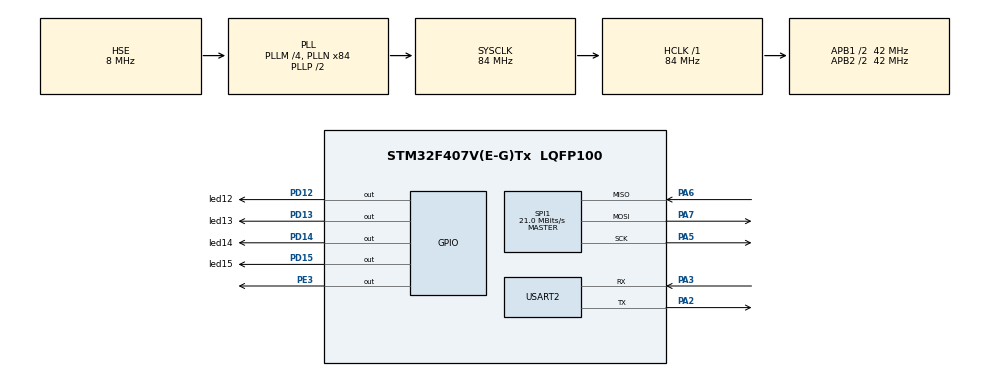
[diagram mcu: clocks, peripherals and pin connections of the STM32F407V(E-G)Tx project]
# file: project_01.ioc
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Mcu.Family=STM32F4
Mcu.Name=STM32F407V(E-G)Tx
Mcu.Package=LQFP100
NVIC.PriorityGroup=NVIC_PRIORITYGROUP_0
NVIC.TIM6_DAC_IRQn=true\:0\:0\:false\:false\:true\:true\:true\:true
NVIC.USART2_IRQn=true\:0\:0\:false\:false\:true\:true\:true\:true
PA13.Mode=Serial_Wire
PA13.Signal=SYS_JTMS-SWDIO
PA14.Mode=Serial_Wire
PA14.Signal=SYS_JTCK-SWCLK
PA2.Mode=Asynchronous
PA2.Signal=USART2_TX
PA3.Mode=Asynchronous
PA3.Signal=USART2_RX
PA5.Mode=Full_Duplex_Master
PA5.Signal=SPI1_SCK
PA6.Mode=Full_Duplex_Master
PA6.Signal=SPI1_MISO
PA7.Mode=Full_Duplex_Master
PA7.Signal=SPI1_MOSI
PD12.GPIO_Label=led12
PD12.GPIO_Speed=GPIO_SPEED_FREQ_MEDIUM
PD12.Signal=GPIO_Output
PD13.GPIO_Label=led13
PD13.GPIO_Speed=GPIO_SPEED_FREQ_MEDIUM
PD13.Signal=GPIO_Output
PD14.GPIO_Label=led14
PD14.GPIO_Speed=GPIO_SPEED_FREQ_MEDIUM
PD14.Signal=GPIO_Output
PD15.GPIO_Label=led15
PD15.GPIO_Speed=GPIO_SPEED_FREQ_MEDIUM
PD15.Signal=GPIO_Output
PE3.Signal=GPIO_Output
PH0-OSC_IN.Mode=HSE-External-Oscillator
PH0-OSC_IN.Signal=RCC_OSC_IN
PH1-OSC_OUT.Mode=HSE-External-Oscillator
PH1-OSC_OUT.Signal=RCC_OSC_OUT
ProjectManager.HeapSize=0x200
ProjectManager.StackSize=0x400
ProjectManager.TargetToolchain=STM32CubeIDE
RCC.48MHZClocksFreq_Value=24000000
RCC.AHBFreq_Value=84000000
RCC.APB1CLKDivider=RCC_HCLK_DIV2
RCC.APB1Freq_Value=42000000
RCC.APB1TimFreq_Value=84000000
RCC.APB2CLKDivider=RCC_HCLK_DIV2
RCC.APB2Freq_Value=42000000
RCC.APB2TimFreq_Value=84000000
RCC.CortexFreq_Value=84000000
RCC.HCLKFreq_Value=84000000
RCC.HSE_VALUE=8000000
RCC.HSI_VALUE=16000000
RCC.LSE_VALUE=32768
RCC.PLLM=4
RCC.PLLN=84
RCC.PLLQ=7
RCC.PLLSourceVirtual=RCC_PLLSOURCE_HSE
RCC.SYSCLKFreq_VALUE=84000000
RCC.SYSCLKSource=RCC_SYSCLKSOURCE_PLLCLK
RCC.VCOOutputFreq_Value=168000000
SPI1.CalculateBaudRate=21.0 MBits/s
SPI1.Direction=SPI_DIRECTION_2LINES
SPI1.Mode=SPI_MODE_MASTER
SPI1.VirtualType=VM_MASTER
TIM6.AutoReloadPreload=TIM_AUTORELOAD_PRELOAD_ENABLE
TIM6.Period=199
TIM6.Prescaler=41999
USART2.VirtualMode=VM_ASYNC
VP_TIM6_VS_ClockSourceINT.Mode=Enable_Timer
board=STM32F407G-DISC1

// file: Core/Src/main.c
/* USER CODE BEGIN Header */
/**
 ******************************************************************************
 * @file           : main.c
 * @brief          : Main program body
 ******************************************************************************
 * @attention
 *
 * Copyright (c) 2024 STMicroelectronics.
 * All rights reserved.
 *
 * This software is licensed under terms that can be found in the LICENSE file
 * in the root directory of this software component.
 * If no LICENSE file comes with this software, it is provided AS-IS.
 *
 ******************************************************************************
 */
/* USER CODE END Header */
#include "main.h"

/* USER CODE BEGIN Includes */
#include "text.h"
#include "lcd_txt.h"
#include <stdio.h>
#include <string.h>

/* USER CODE END Includes */

/* USER CODE BEGIN PTD */
extern uint16_t x, y, z;
extern int16_t x_final, y_final, z_final;
extern uint16_t rxd, rxdf;
extern int16_t mapvalue, xangle, yangle;
extern uint8_t rxdata[3];
extern char txdata[12];
extern uint8_t txleft[];
/* USER CODE END PTD */

SPI_HandleTypeDef hspi1;

TIM_HandleTypeDef htim6;

UART_HandleTypeDef huart2;

void SystemClock_Config(void);
static void MX_GPIO_Init(void);
static void MX_SPI1_Init(void);
static void MX_TIM6_Init(void);
static void MX_USART2_UART_Init(void);

int main(void) {

	/* MCU Configuration--------------------------------------------------------*/
	/* Reset of all peripherals, Initializes the Flash interface and the Systick. */
	HAL_Init();

	/* Configure the system clock */
	SystemClock_Config();

	/* Initialize all configured peripherals */
	MX_GPIO_Init();
	MX_SPI1_Init();
	MX_TIM6_Init();
	MX_USART2_UART_Init();
	/* USER CODE BEGIN 2 */
	HAL_GPIO_WritePin(GPIOD,
	GPIO_PIN_12 | GPIO_PIN_13 | GPIO_PIN_14 | GPIO_PIN_15, 1);
	HAL_Delay(1000);
	HAL_GPIO_WritePin(GPIOD,
	GPIO_PIN_12 | GPIO_PIN_13 | GPIO_PIN_14 | GPIO_PIN_15, 0);
	HAL_Delay(1000);

	GPIO_Init();
	SPI_Init();
	LIS_Init();

	HAL_TIM_Base_Start_IT(&htim6);
	HAL_UART_Receive_IT(&huart2,  rxdata, sizeof(rxdata));

	/* USER CODE END 2 */

	/* Infinite loop */
	while (1) {

		/* USER CODE BEGIN 3 */

		// Call the read function
		LIS_Read();

		// Use the Convert_To_Val function to convert raw data into actual data
		x_final = Convert_To_Val(x) + X_OFFSET;
		y_final = Convert_To_Val(y) + Y_OFFSET;

		if ((x_final != 0) && (y_final != 0)) {
			if (x_final > THRESH_HIGH) {
				GPIOD->ODR |= GPIO_ODR_OD14;
				GPIOD->ODR &= ~(GPIO_ODR_OD12 | GPIO_ODR_OD13 | GPIO_ODR_OD15);
			} else if (x_final < THRESH_LOW) {
				GPIOD->ODR |= GPIO_ODR_OD12;
				GPIOD->ODR &= ~(GPIO_ODR_OD14 | GPIO_ODR_OD13 | GPIO_ODR_OD15);
			}

			if (x_final < THRESH_LOW && y_final > THRESH_HIGH) {
				GPIOD->ODR |= GPIO_ODR_OD12;
				GPIOD->ODR |= GPIO_ODR_OD13;

				GPIOD->ODR &= ~(GPIO_ODR_OD14 | GPIO_ODR_OD15);
			} else if (x_final > THRESH_HIGH && y_final > THRESH_HIGH) {
				GPIOD->ODR |= GPIO_ODR_OD13;
				GPIOD->ODR |= GPIO_ODR_OD14;
				GPIOD->ODR &= ~(GPIO_ODR_OD12 | GPIO_ODR_OD15);
			} else if (x_final > THRESH_HIGH && y_final < THRESH_LOW) {
				GPIOD->ODR |= GPIO_ODR_OD15;
				GPIOD->ODR |= GPIO_ODR_OD14;
				GPIOD->ODR &= ~(GPIO_ODR_OD12 | GPIO_ODR_OD13);
			} else if (x_final < THRESH_LOW && y_final < THRESH_LOW) {
				GPIOD->ODR |= GPIO_ODR_OD12;
				GPIOD->ODR |= GPIO_ODR_OD15;
				GPIOD->ODR &= ~(GPIO_ODR_OD13 | GPIO_ODR_OD14);
			}

			else if (y_final > THRESH_HIGH) {
				GPIOD->ODR |= GPIO_ODR_OD13;
				GPIOD->ODR &= ~(GPIO_ODR_OD12 | GPIO_ODR_OD14 | GPIO_ODR_OD15);
			} else if (y_final < THRESH_LOW) {
				GPIOD->ODR |= GPIO_ODR_OD15;
				GPIOD->ODR &= ~(GPIO_ODR_OD12 | GPIO_ODR_OD13 | GPIO_ODR_OD14);
			}
		} else
			GPIOD->ODR &= ~(GPIO_ODR_OD12 | GPIO_ODR_OD13 | GPIO_ODR_OD14| GPIO_ODR_OD15);

		// Give a finite delay
		HAL_Delay(50);
		xangle = map(x_final, -1177, 1158, -90, 90);
		yangle = map(y_final, -1159, 1177, -90, 90);

		sprintf(txdata,"\nx=%d y=%d",xangle,yangle);

	}
	/* USER CODE END 3 */
}

void SystemClock_Config(void) {
	RCC_OscInitTypeDef RCC_OscInitStruct = { 0 };
	RCC_ClkInitTypeDef RCC_ClkInitStruct = { 0 };

	/** Configure the main internal regulator output voltage
	 */
	__HAL_RCC_PWR_CLK_ENABLE();
	__HAL_PWR_VOLTAGESCALING_CONFIG(PWR_REGULATOR_VOLTAGE_SCALE1);

	/** Initializes the RCC Oscillators according to the specified parameters
	 * in the RCC_OscInitTypeDef structure.
	 */
	RCC_OscInitStruct.OscillatorType = RCC_OSCILLATORTYPE_HSE;
	RCC_OscInitStruct.HSEState = RCC_HSE_ON;
	RCC_OscInitStruct.PLL.PLLState = RCC_PLL_ON;
	RCC_OscInitStruct.PLL.PLLSource = RCC_PLLSOURCE_HSE;
	RCC_OscInitStruct.PLL.PLLM = 4;
	RCC_OscInitStruct.PLL.PLLN = 84;
	RCC_OscInitStruct.PLL.PLLP = RCC_PLLP_DIV2;
	RCC_OscInitStruct.PLL.PLLQ = 7;
	if (HAL_RCC_OscConfig(&RCC_OscInitStruct) != HAL_OK) {
		Error_Handler();
	}

	/** Initializes the CPU, AHB and APB buses clocks
	 */
	RCC_ClkInitStruct.ClockType = RCC_CLOCKTYPE_HCLK | RCC_CLOCKTYPE_SYSCLK
			| RCC_CLOCKTYPE_PCLK1 | RCC_CLOCKTYPE_PCLK2;
	RCC_ClkInitStruct.SYSCLKSource = RCC_SYSCLKSOURCE_PLLCLK;
	RCC_ClkInitStruct.AHBCLKDivider = RCC_SYSCLK_DIV1;
	RCC_ClkInitStruct.APB1CLKDivider = RCC_HCLK_DIV2;
	RCC_ClkInitStruct.APB2CLKDivider = RCC_HCLK_DIV2;

	if (HAL_RCC_ClockConfig(&RCC_ClkInitStruct, FLASH_LATENCY_2) != HAL_OK) {
		Error_Handler();
	}
}

static void MX_SPI1_Init(void) {

	/* SPI1 parameter configuration*/
	hspi1.Instance = SPI1;
	hspi1.Init.Mode = SPI_MODE_MASTER;
	hspi1.Init.Direction = SPI_DIRECTION_2LINES;
	hspi1.Init.DataSize = SPI_DATASIZE_8BIT;
	hspi1.Init.CLKPolarity = SPI_POLARITY_LOW;
	hspi1.Init.CLKPhase = SPI_PHASE_1EDGE;
	hspi1.Init.NSS = SPI_NSS_SOFT;
	hspi1.Init.BaudRatePrescaler = SPI_BAUDRATEPRESCALER_2;
	hspi1.Init.FirstBit = SPI_FIRSTBIT_MSB;
	hspi1.Init.TIMode = SPI_TIMODE_DISABLE;
	hspi1.Init.CRCCalculation = SPI_CRCCALCULATION_DISABLE;
	hspi1.Init.CRCPolynomial = 10;
	if (HAL_SPI_Init(&hspi1) != HAL_OK) {
		Error_Handler();
	}

}

static void MX_TIM6_Init(void) {

	TIM_MasterConfigTypeDef sMasterConfig = { 0 };

	htim6.Instance = TIM6;
	htim6.Init.Prescaler = 41999;
	htim6.Init.CounterMode = TIM_COUNTERMODE_UP;
	htim6.Init.Period = 199;
	htim6.Init.AutoReloadPreload = TIM_AUTORELOAD_PRELOAD_ENABLE;
	if (HAL_TIM_Base_Init(&htim6) != HAL_OK) {
		Error_Handler();
	}
	sMasterConfig.MasterOutputTrigger = TIM_TRGO_RESET;
	sMasterConfig.MasterSlaveMode = TIM_MASTERSLAVEMODE_DISABLE;
	if (HAL_TIMEx_MasterConfigSynchronization(&htim6, &sMasterConfig)
			!= HAL_OK) {
		Error_Handler();
	}

}

static void MX_USART2_UART_Init(void) {

	huart2.Instance = USART2;
	huart2.Init.BaudRate = 115200;
	huart2.Init.WordLength = UART_WORDLENGTH_8B;
	huart2.Init.StopBits = UART_STOPBITS_1;
	huart2.Init.Parity = UART_PARITY_NONE;
	huart2.Init.Mode = UART_MODE_TX_RX;
	huart2.Init.HwFlowCtl = UART_HWCONTROL_NONE;
	huart2.Init.OverSampling = UART_OVERSAMPLING_16;
	if (HAL_UART_Init(&huart2) != HAL_OK) {
		Error_Handler();
	}

}

static void MX_GPIO_Init(void) {
	GPIO_InitTypeDef GPIO_InitStruct = { 0 };

	/* GPIO Ports Clock Enable */
	__HAL_RCC_GPIOE_CLK_ENABLE();
	__HAL_RCC_GPIOH_CLK_ENABLE();
	__HAL_RCC_GPIOA_CLK_ENABLE();
	__HAL_RCC_GPIOD_CLK_ENABLE();

	/*Configure GPIO pin Output Level */
	HAL_GPIO_WritePin(GPIOE, GPIO_PIN_3, GPIO_PIN_RESET);

	/*Configure GPIO pin Output Level */
	HAL_GPIO_WritePin(GPIOD, led12_Pin | led13_Pin | led14_Pin | led15_Pin,
			GPIO_PIN_RESET);

	/*Configure GPIO pin : PE3 */
	GPIO_InitStruct.Pin = GPIO_PIN_3;
	GPIO_InitStruct.Mode = GPIO_MODE_OUTPUT_PP;
	GPIO_InitStruct.Pull = GPIO_NOPULL;
	GPIO_InitStruct.Speed = GPIO_SPEED_FREQ_LOW;
	HAL_GPIO_Init(GPIOE, &GPIO_InitStruct);

	/*Configure GPIO pins : led12_Pin led13_Pin led14_Pin led15_Pin */
	GPIO_InitStruct.Pin = led12_Pin | led13_Pin | led14_Pin | led15_Pin;
	GPIO_InitStruct.Mode = GPIO_MODE_OUTPUT_PP;
	GPIO_InitStruct.Pull = GPIO_NOPULL;
	GPIO_InitStruct.Speed = GPIO_SPEED_FREQ_MEDIUM;
	HAL_GPIO_Init(GPIOD, &GPIO_InitStruct);

}

void Error_Handler(void) {
	__disable_irq();
	while (1) {
	}
}
